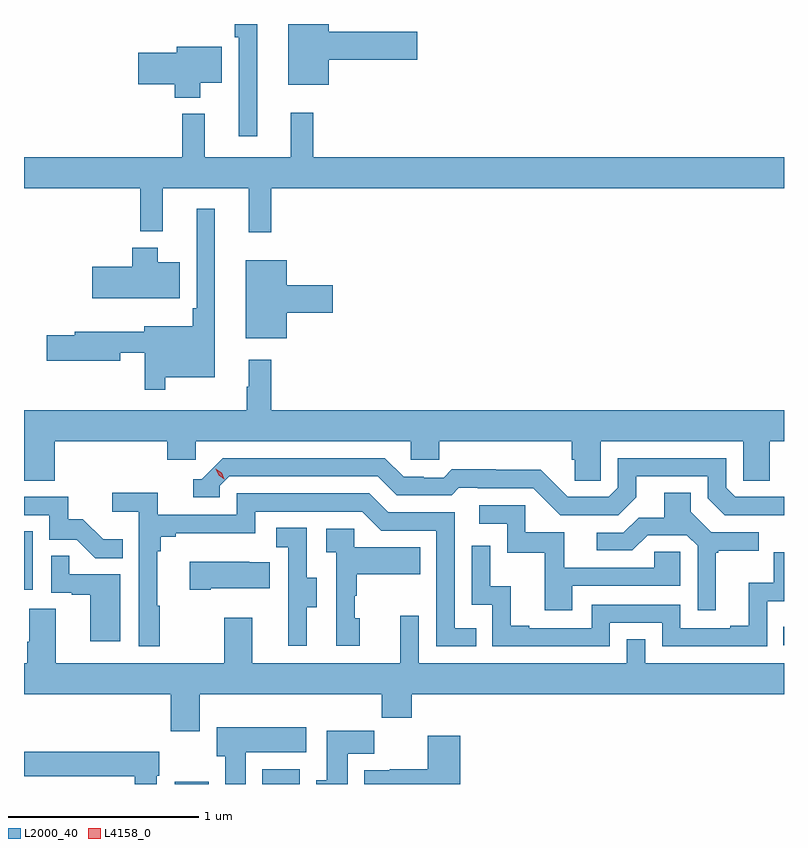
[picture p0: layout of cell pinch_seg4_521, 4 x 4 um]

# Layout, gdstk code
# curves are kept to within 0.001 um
import gdstk
lib = gdstk.Library(unit=1e-6, precision=1e-09)
def R(c, l, rs):  # rectangles x0, y0, x1, y1
    for r in rs: c.add(gdstk.rectangle(r[:2], r[2:], *l))
def P(c, l, *ps):  # polygons
    for p in ps: c.add(gdstk.Polygon(p, *l))
L2000_40 = (2000, 40)
L4158_0 = (4158, 0)

pinch_seg4_521 = lib.new_cell('pinch_seg4_521')
R(pinch_seg4_521, L2000_40, [(974.312,760.384,974.491,760.396), (974.774,760.384,974.971,760.462), (977.515,761.115,977.519,761.212), (973.519,761.406,973.564,761.713)])
P(pinch_seg4_521, L2000_40, [(974.746,764.384),(974.629,764.384),(974.629,764.315),(974.649,764.315),(974.649,763.794),(974.746,763.794)],
  [(975.124,764.195),(975.589,764.195),(975.589,764.342),(975.124,764.342),(975.124,764.384),(974.909,764.384),(974.909,764.063),(975.124,764.063)],
  [(974.446,764.075),(974.56,764.075),(974.56,764.263),(974.324,764.263),(974.324,764.233),(974.121,764.233),(974.121,764.068),(974.312,764.068),(974.312,763.997),(974.446,763.997)],
  [(974.471,763.912),(974.353,763.912),(974.353,763.684),(973.519,763.684),(973.519,763.52),(974.131,763.52),(974.131,763.292),(974.249,763.292),(974.249,763.52),(974.702,763.52),(974.702,763.287),(974.819,763.287),(974.819,763.52),(977.519,763.52),(977.519,763.684),(975.041,763.684),(975.041,763.918),(974.924,763.918),(974.924,763.684),(974.471,763.684)],
  [(974.263,762.524),(974.524,762.524),(974.524,763.411),(974.427,763.411),(974.427,762.889),(974.407,762.889),(974.407,762.793),(974.153,762.793),(974.153,762.763),(973.787,762.763),(973.787,762.746),(973.638,762.746),(973.638,762.611),(974.026,762.611),(974.026,762.654),(974.154,762.654),(974.154,762.459),(974.263,762.459)],
  [(974.338,763.129),(974.224,763.129),(974.224,763.207),(974.09,763.207),(974.09,763.107),(973.878,763.107),(973.878,762.941),(974.338,762.941)],
  [(974.902,762.863),(975.145,762.863),(975.145,763.01),(974.902,763.01),(974.902,763.141),(974.687,763.141),(974.687,762.731),(974.902,762.731)],
  [(974.819,762.616),(974.702,762.616),(974.702,762.476),(974.691,762.476),(974.691,762.352),(973.519,762.352),(973.519,761.98),(973.682,761.98),(973.682,762.188),(974.273,762.188),(974.273,762.09),(974.424,762.09),(974.424,762.188),(975.555,762.188),(975.555,762.09),(975.705,762.09),(975.705,762.188),(976.403,762.188),(976.403,762.09),(976.417,762.09),(976.417,761.98),(976.554,761.98),(976.554,762.188),(977.304,762.188),(977.304,761.98),(977.443,761.98),(977.443,762.188),(977.519,762.188),(977.519,762.352),(974.819,762.352)],
  [(977.519,761.895),(977.262,761.895),(977.214,761.943),(977.214,762.099),(976.644,762.099),(976.644,761.943),(976.596,761.895),(976.38,761.895),(976.238,762.037),(976.002,762.037),(976.002,762.04),(975.769,762.04),(975.727,761.997),(975.624,761.997),(975.624,762),(975.517,762),(975.418,762.099),(974.565,762.099),(974.454,761.988),(974.411,761.988),(974.411,761.892),(974.55,761.892),(974.55,761.955),(974.598,762.003),(975.381,762.003),(975.48,761.904),(975.769,761.904),(975.808,761.943),(975.907,761.943),(975.907,761.94),(976.2,761.94),(976.341,761.799),(976.647,761.799),(976.741,761.893),(976.741,762.003),(977.118,762.003),(977.118,761.889),(977.208,761.799),(977.519,761.798)],
  [(974.233,761.321),(974.221,761.321),(974.221,761.609),(974.24,761.609),(974.24,761.686),(974.317,761.686),(974.317,761.705),(974.736,761.705),(974.736,761.817),(975.3,761.817),(975.399,761.718),(975.69,761.718),(975.69,761.109),(975.899,761.109),(975.899,761.205),(975.786,761.205),(975.786,761.814),(975.436,761.814),(975.337,761.913),(974.64,761.913),(974.64,761.802),(974.222,761.802),(974.222,761.918),(973.983,761.918),(973.983,761.816),(974.124,761.816),(974.124,761.109),(974.233,761.109)],
  [(977.161,761.601),(977.173,761.601),(977.173,761.612),(977.386,761.612),(977.386,761.709),(977.136,761.709),(977.029,761.816),(977.029,761.918),(976.889,761.918),(976.889,761.786),(976.754,761.786),(976.674,761.706),(976.533,761.706),(976.533,761.613),(976.72,761.613),(976.801,761.694),(977.007,761.694),(977.064,761.637),(977.064,761.298),(977.161,761.298)],
  [(974.039,761.671),(973.935,761.671),(973.828,761.778),(973.752,761.778),(973.752,761.895),(973.519,761.895),(973.519,761.799),(973.653,761.799),(973.653,761.67),(973.797,761.67),(973.895,761.572),(974.039,761.572)],
  [(976.405,761.427),(976.974,761.427),(976.974,761.607),(976.837,761.607),(976.837,761.523),(976.363,761.523),(976.363,761.709),(976.158,761.709),(976.158,761.85),(975.915,761.85),(975.915,761.754),(976.062,761.754),(976.062,761.601),(976.261,761.601),(976.261,761.298),(976.405,761.298)],
  [(975.007,761.314),(975.061,761.314),(975.061,761.469),(975.006,761.469),(975.006,761.732),(974.847,761.732),(974.847,761.629),(974.91,761.629),(974.91,761.325),(974.909,761.325),(974.909,761.112),(975.007,761.112)],
  [(975.286,761.256),(975.261,761.256),(975.261,761.375),(975.271,761.375),(975.271,761.489),(975.605,761.489),(975.605,761.629),(975.258,761.629),(975.258,761.727),(975.111,761.727),(975.111,761.603),(975.162,761.603),(975.162,761.112),(975.286,761.112)],
  [(976.602,761.232),(976.878,761.232),(976.878,761.109),(977.43,761.109),(977.43,761.345),(977.519,761.345),(977.519,761.604),(977.466,761.604),(977.466,761.443),(977.333,761.443),(977.333,761.218),(977.237,761.218),(977.237,761.205),(976.974,761.205),(976.974,761.328),(976.506,761.328),(976.506,761.205),(976.177,761.205),(976.177,761.218),(976.082,761.218),(976.082,761.426),(975.972,761.426),(975.972,761.638),(975.876,761.638),(975.876,761.328),(975.984,761.328),(975.984,761.109),(976.602,761.109)],
  [(974.026,761.487),(973.757,761.487),(973.757,761.585),(973.662,761.585),(973.662,761.391),(973.769,761.391),(973.769,761.379),(973.868,761.379),(973.868,761.136),(974.026,761.136)],
  [(974.503,761.414),(974.813,761.414),(974.813,761.551),(974.705,761.551),(974.705,761.554),(974.391,761.554),(974.391,761.407),(974.503,761.407)],
  [(974.443,760.856),(975.403,760.856),(975.403,760.732),(975.56,760.732),(975.56,760.856),(977.519,760.856),(977.519,761.02),(976.788,761.02),(976.788,761.147),(976.692,761.147),(976.692,761.02),(975.597,761.02),(975.597,761.269),(975.5,761.269),(975.5,761.02),(974.719,761.02),(974.719,761.26),(974.572,761.26),(974.572,761.02),(973.687,761.02),(973.687,761.306),(973.547,761.306),(973.547,761.132),(973.535,761.132),(973.535,761.02),(973.519,761.02),(973.519,760.856),(974.291,760.856),(974.291,760.662),(974.443,760.662)],
  [(974.686,760.55),(975.004,760.55),(975.004,760.684),(974.534,760.684),(974.534,760.53),(974.579,760.53),(974.579,760.384),(974.686,760.384)],
  [(975.223,760.544),(975.362,760.544),(975.362,760.663),(975.113,760.663),(975.113,760.404),(975.056,760.404),(975.056,760.384),(975.223,760.384)],
  [(975.815,760.639),(975.644,760.639),(975.644,760.462),(975.444,760.462),(975.444,760.456),(975.311,760.456),(975.311,760.384),(975.815,760.384)],
  [(974.217,760.428),(974.23,760.428),(974.23,760.555),(973.519,760.555),(973.519,760.426),(974.101,760.426),(974.101,760.384),(974.217,760.384)])
P(pinch_seg4_521, L4158_0, [(974.574,761.989),(974.543,762.009),(974.528,762.042),(974.528,762.042),(974.528,762.042),(974.559,762.022),(974.574,761.989),(974.574,761.989)])

lib.write_gds('pinch_seg4_521.gds')
